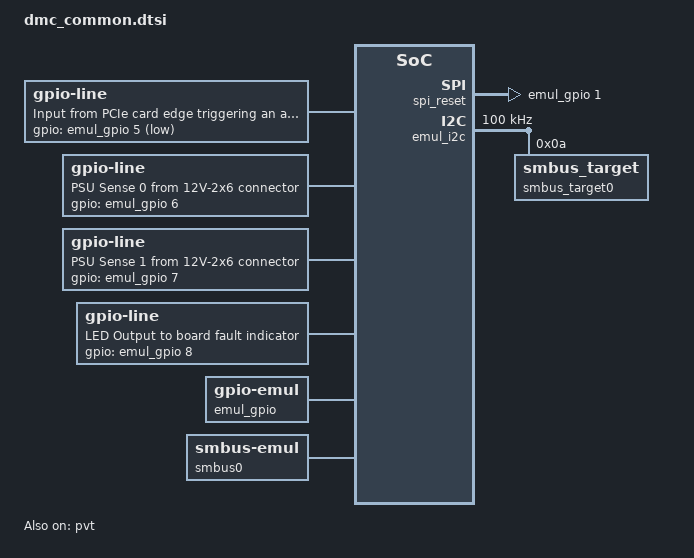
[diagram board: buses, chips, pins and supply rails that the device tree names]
/*
 * Copyright (c) 2026 Tenstorrent AI ULC
 *
 * SPDX-License-Identifier: Apache-2.0
 */

#include <zephyr/dt-bindings/gpio/gpio.h>
#include <zephyr/dt-bindings/i2c/i2c.h>

/ {
	aliases {
		dmc-vuart = &DMC_VUART;
	};

	fwtable: fwtable {
		compatible = "tenstorrent,bh-fwtable";
		status = "okay";
		flash-dev = DMC_FLASH_DEV;
	};

	pll0: pll0 {
		compatible = "tenstorrent,clock-control-emul";
		status = "okay";
	};

	pll4: pll4 {
		compatible = "tenstorrent,clock-control-emul";
		status = "okay";
	};

	dma1: noc_dma {
		status = "okay";
	};

	pvt: pvt@80030700 {
		compatible = "tenstorrent,bh-pvt";
		reg = <0x80030700 0x4>;
		num_pd = <16>;
		num_vm = <8>;
		num_ts = <8>;
		status = "okay";
	};

	wdt0: wdt0 {
		compatible = "tenstorrent,bh-watchdog";
		status = "okay";
	};

	chip0: chip0 {
		compatible = "tenstorrent,bh-chip";

		jtag0: jtag {
			compatible = "zephyr,jtag-gpio";
			status = "okay";
			tck-gpios = <&emul_gpio 9 GPIO_ACTIVE_HIGH>;
			trst-gpios = <&emul_gpio 10 GPIO_ACTIVE_LOW>;
			tms-gpios = <&emul_gpio 11 GPIO_ACTIVE_HIGH>;
			tdo-gpios = <&emul_gpio 12 GPIO_PULL_UP>;
			tdi-gpios = <&emul_gpio 13 GPIO_ACTIVE_HIGH>;
			port-write-cycles = <2>;
		};

		asic_reset {
			compatible = "zephyr,gpio-line";
			label = "Line to asic reset";
			gpios = <&emul_gpio 0 GPIO_ACTIVE_LOW>;
		};

		spi_reset {
			compatible = "zephyr,gpio-line";
			label = "Line to spi reset";
			gpios = <&emul_gpio 1 GPIO_ACTIVE_LOW>;
		};

		pgood {
			compatible = "zephyr,gpio-line";
			label = "Power good indicator";
			gpios = <&emul_gpio 3 GPIO_PULL_DOWN>;
		};

		therm_trip {
			compatible = "zephyr,gpio-line";
			label = "Thermal trip indicator";
			gpios = <&emul_gpio 2 GPIO_ACTIVE_HIGH>;
		};

		spi_mux {
			compatible = "zephyr,gpio-line";
			label = "Line to spi mux";
			gpios = <&emul_gpio 4 GPIO_ACTIVE_LOW>;
		};

		arc = <&chip0_arc>;
	};

	chips {
		compatible = "tenstorrent,bh-chips";
		chips = <&chip0>;
		primary = <0>;
	};

	preset_trigger {
		compatible = "zephyr,gpio-line";
		label = "Input from PCIe card edge triggering an asic reset";
		gpios = <&emul_gpio 5 GPIO_ACTIVE_LOW>;
	};

	psu_sense0 {
		compatible = "zephyr,gpio-line";
		label = "PSU Sense 0 from 12V-2x6 connector";
		gpios = <&emul_gpio 6 GPIO_ACTIVE_HIGH>;
	};

	psu_sense1 {
		compatible = "zephyr,gpio-line";
		label = "PSU Sense 1 from 12V-2x6 connector";
		gpios = <&emul_gpio 7 GPIO_ACTIVE_HIGH>;
	};

	board_fault_led {
		compatible = "zephyr,gpio-line";
		label = "LED Output to board fault indicator";
		gpios = <&emul_gpio 8 GPIO_ACTIVE_HIGH>;
	};

	emul_gpio: emul_gpio {
		compatible = "zephyr,gpio-emul";
		status = "okay";
		gpio-controller;
		#gpio-cells = <2>;
		ngpios = <16>;
		rising-edge;
		falling-edge;
		high-level;
		low-level;
	};

	emul_i2c: i2c@100 {
		compatible = "zephyr,i2c-emul-controller";
		status = "okay";
		clock-frequency = <I2C_BITRATE_STANDARD>;
		#address-cells = <1>;
		#size-cells = <0>;
		reg = <0x100 0x4>;
	};

	smbus0: smbus0 {
		compatible = "zephyr,smbus-emul";
		#address-cells = <1>;
		#size-cells = <0>;
		i2c = <&emul_i2c>;
		status = "okay";

		chip0_arc: bh_arc@a {
			compatible = "tenstorrent,bh-arc";
			reg = <0xa>;
		};
	};
};

&emul_i2c {
	smbus_target0: smbus@a {
		compatible = "zephyr,smbus_target";
		reg = <0xa>;
		status = "okay";
	};
};
